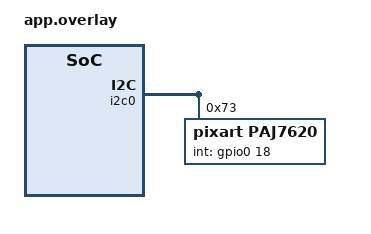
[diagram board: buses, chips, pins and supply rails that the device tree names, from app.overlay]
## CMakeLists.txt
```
# Copyright (c) Paul Timke <ptimkec@live.com>
# SPDX-License-Identifier: Apache-2.0

cmake_minimum_required(VERSION 3.20.0)
find_package(Zephyr REQUIRED HINTS $ENV{ZEPHYR_BASE})
project(accel_trig)

FILE(GLOB app_sources src/*.c)
target_sources(app PRIVATE ${app_sources})
```

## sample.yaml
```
sample:
  name: Gesture trigger sample
tests:
  sample.sensor.gesture_trig:
    build_only: true
    tags: sensors
    platform_allow: nucleo_f334r8
    depends_on:
      - i2c
      - paj7620
```

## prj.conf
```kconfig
CONFIG_GPIO=y
CONFIG_STDOUT_CONSOLE=y
CONFIG_I2C=y
CONFIG_SENSOR=y
CONFIG_CBPRINTF_FP_SUPPORT=y
CONFIG_PAJ7620=y
CONFIG_PAJ7620_TRIGGER_OWN_THREAD=y
```

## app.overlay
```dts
&gpio0 {
	status = "okay";
};

&i2c0 {
	status = "okay";

	paj7620: paj7620@73 {
		compatible = "pixart,paj7620";
		reg = <0x73>;
		int-gpios = <&gpio0 18 (GPIO_PULL_UP)>;
	};
};
```

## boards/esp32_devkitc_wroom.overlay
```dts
&i2c0 {
	status = "okay";

	paj7620 : paj7620@73 {
		status = "okay";
		compatible = "pixart,paj7620";
		reg = <0x73>;
		int-gpios = <&gpio0 18 (GPIO_PULL_UP | GPIO_ACTIVE_LOW)>;
	};
};
```

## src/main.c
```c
/*
 * Copyright (c) Paul Timke <ptimkec@live.com>
 *
 * SPDX-License-Identifier: Apache-2.0
 */

#include <zephyr/kernel.h>
#include <zephyr/drivers/sensor.h>
#include <zephyr/drivers/sensor/paj7620.h>

K_SEM_DEFINE(sem, 0, 1); /* starts off "not available" */

static void trigger_handler(const struct device *dev, const struct sensor_trigger *trigger)
{
	ARG_UNUSED(trigger);

	if (sensor_sample_fetch(dev) < 0) {
		printf("sensor_sample_fetch failed\n");
		return;
	}

	k_sem_give(&sem);
}

int main(void)
{
	struct sensor_value data;
	const struct device *dev = DEVICE_DT_GET_ONE(pixart_paj7620);

	struct sensor_trigger trig = {
		.type = SENSOR_TRIG_MOTION,
		.chan = (enum sensor_channel)SENSOR_CHAN_PAJ7620_GESTURES,
	};

	if (!device_is_ready(dev)) {
		printf("Device %s is not ready\n", dev->name);
		return 0;
	}

	if (sensor_trigger_set(dev, &trig, trigger_handler) < 0) {
		printf("Could not set trigger\n");
		return 0;
	}

	while (1) {
		k_sem_take(&sem, K_FOREVER);
		sensor_channel_get(dev, (enum sensor_channel)SENSOR_CHAN_PAJ7620_GESTURES, &data);

		switch (data.val1) {
		case PAJ7620_GES_UP:
			printf("Gesture UP\n");
			break;
		case PAJ7620_GES_DOWN:
			printf("Gesture DOWN\n");
			break;
		case PAJ7620_GES_LEFT:
			printf("Gesture LEFT\n");
			break;
		case PAJ7620_GES_RIGHT:
			printf("Gesture RIGHT\n");
			break;
		case PAJ7620_GES_FORWARD:
			printf("Gesture FORWARD\n");
			break;
		case PAJ7620_GES_BACKWARD:
			printf("Gesture BACKWARD\n");
			break;
		case PAJ7620_GES_CLOCKWISE:
			printf("Gesture CLOCKWISE\n");
			break;
		case PAJ7620_GES_COUNTERCLOCKWISE:
			printf("Gesture COUNTER CLOCKWISE\n");
			break;
		default:
			break;
		}
	}
}
```
